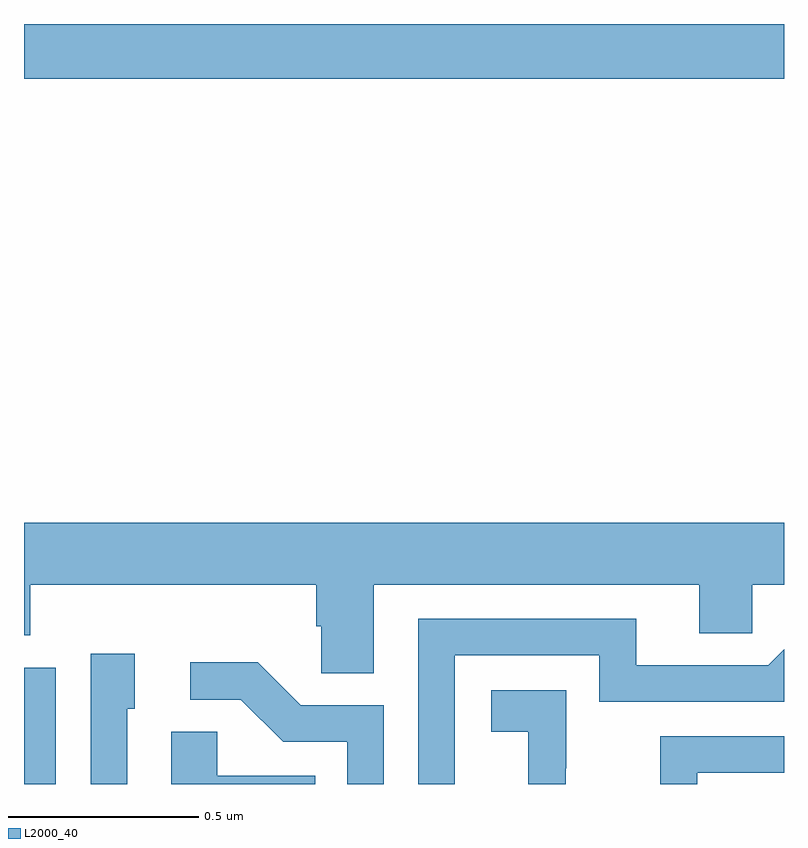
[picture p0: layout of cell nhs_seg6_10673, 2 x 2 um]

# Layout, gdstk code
import gdstk
lib = gdstk.Library(unit=1e-6, precision=1e-09)
def R(c, l, rs):  # rectangles x0, y0, x1, y1
    for r in rs: c.add(gdstk.rectangle(r[:2], r[2:], *l))
def P(c, l, *ps):  # polygons
    for p in ps: c.add(gdstk.Polygon(p, *l))
L2000_40 = (2000, 40)

nhs_seg6_10673 = lib.new_cell('nhs_seg6_10673')
R(nhs_seg6_10673, L2000_40, [(250,925.5,250.083,925.806), (250,927.356,252,927.5)])
P(nhs_seg6_10673, L2000_40, [(250.921,926.024),(251.777,926.024),(251.777,925.897),(251.916,925.897),(251.916,926.024),(252,926.024),(252,926.188),(250,926.188),(250,925.891),(250.016,925.891),(250.016,926.024),(250.769,926.024),(250.769,925.915),(250.782,925.915),(250.782,925.792),(250.921,925.792)],
  [(251.133,925.839),(251.514,925.839),(251.514,925.716),(252,925.716),(252,925.854),(251.958,925.812),(251.611,925.812),(251.611,925.935),(251.037,925.935),(251.037,925.5),(251.133,925.5)],
  [(250.272,925.698),(250.291,925.698),(250.291,925.843),(250.176,925.843),(250.176,925.5),(250.272,925.5)],
  [(250.947,925.707),(250.728,925.707),(250.615,925.82),(250.437,925.82),(250.437,925.722),(250.571,925.722),(250.682,925.611),(250.851,925.611),(250.851,925.5),(250.947,925.5)],
  [(251.426,925.541),(251.427,925.541),(251.427,925.747),(251.229,925.747),(251.229,925.637),(251.327,925.637),(251.327,925.5),(251.426,925.5)],
  [(250.766,925.522),(250.509,925.522),(250.509,925.637),(250.388,925.637),(250.388,925.5),(250.766,925.5)],
  [(251.772,925.53),(252,925.53),(252,925.626),(251.674,925.626),(251.674,925.5),(251.772,925.5)])

lib.write_gds('nhs_seg6_10673.gds')
